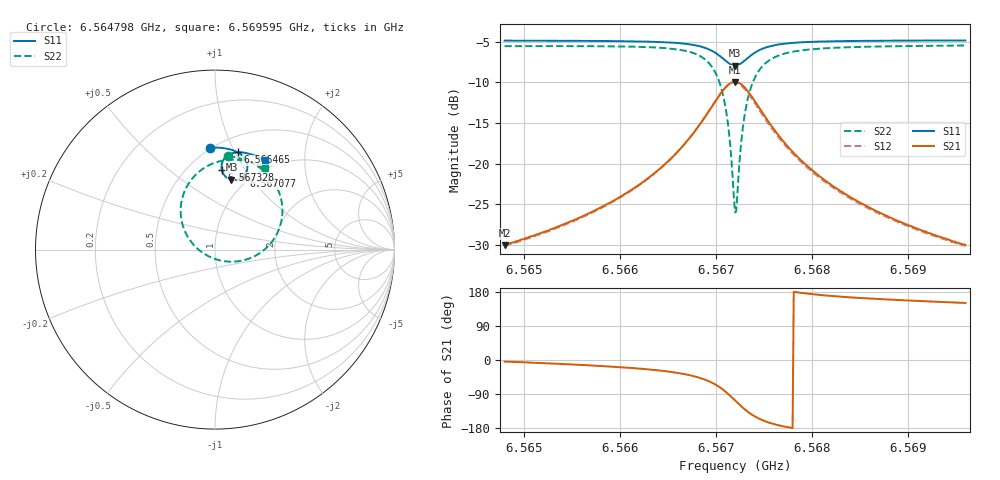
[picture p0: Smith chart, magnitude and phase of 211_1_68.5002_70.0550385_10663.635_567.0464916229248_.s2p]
#  HZ  S  RI  R  50.00
! Rohde & Schwarz Vector Network Analyzer
! Rohde-Schwarz,ZNB20-2Port,1311601062101988,3.16
! Created: UTC 3/20/2024, 5:13:09 PM
! freq[Hz]  re:S11  im:S11  re:S21  im:S21  re:S12  im:S12  re:S22  im:S22
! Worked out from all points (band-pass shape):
!   401 points, 6.564798 GHz to 6.569595 GHz, reference 50 ohm
!   highest |S21| = -9.95 dB at 6.567196 GHz (marker M1); lowest = -30.0 dB at 6.564798 GHz (marker M2)
!   |S21| within 3 dB of the highest: 6.566958 GHz to 6.567437 GHz (479.7 kHz wide, 0.0073 % of centre)
!   lowest |S11| = -8.0 dB at 6.567196 GHz (marker M3), VSWR 2.33, Z = 43.1 + j39.8 ohm
!   |S11| at or under -10 dB: nowhere
!   |S22| runs from -26.0 to -5.5 dB; largest |S21 - S12| = 0.016
!   S11 on the Smith chart (normalised r, x): 6.564798 GHz: 0.49, +0.82; 6.566465 GHz: 0.65, +1.03; 6.567077 GHz: 0.92, +0.94; 6.567328 GHz: 0.71, +0.79; 6.569595 GHz: 0.88, +1.30
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6.5647978e9  -0.0286 0.5684  0.0316 -0.00232  0.0311 -0.00276  0.0737 0.5213
6.5656014e9  0.039 0.5663  0.0461 -0.0107  0.0454 -0.0114  0.1551 0.5032
6.5660571e9  0.0816 0.5588  0.0618 -0.0224  0.0607 -0.0231  0.2145 0.4777
6.5664049e9  0.1188 0.5459  0.0818 -0.0427  0.0806 -0.0437  0.2753 0.4359
6.5664649e9  0.126 0.5423  0.0864 -0.0487  0.0851 -0.0497  0.2878 0.4241
6.5667048e9  0.1566 0.5192  0.1083 -0.0876  0.1067 -0.0895  0.3442 0.3473
6.5668847e9  0.1778 0.4823  0.1195 -0.1524  0.1165 -0.1559  0.3758 0.2227
6.5669926e9  0.1791 0.4445  0.1031 -0.2189  0.0972 -0.2233  0.3489 0.0959
6.5670766e9  0.1601 0.4092  0.0535 -0.279  0.0429 -0.2823  0.256 -0.0153
6.5671245e9  0.1374 0.3933  0.00355 -0.3043  -0.00987 -0.3049  0.1626 -0.0587
6.5671845e9  0.0997 0.3874  -0.0746 -0.3087  -0.0892 -0.3031  0.0207 -0.0586
6.5671965e9  0.0918 0.3889  -0.0905 -0.3048  -0.1048 -0.298  -0.00725 -0.0497
6.5672205e9  0.0769 0.3941  -0.1208 -0.2927  -0.1338 -0.2833  -0.0593 -0.0239
6.5672684e9  0.0528 0.4129  -0.1697 -0.2535  -0.1787 -0.2407  -0.1394 0.0523
6.5673284e9  0.0377 0.4436  -0.2023 -0.1926  -0.2057 -0.179  -0.1866 0.1638
6.5674244e9  0.041 0.487  -0.204 -0.1089  -0.2021 -0.0985  -0.1754 0.31
6.5675683e9  0.0684 0.5225  -0.1683 -0.0398  -0.1645 -0.034  -0.0984 0.4256
6.5677362e9  0.1004 0.5379  -0.1293 -0.007  -0.126 -0.00401  -0.0175 0.4775
6.568e9  0.1394 0.5423  -0.0906 0.01  -0.0883 0.0114  0.0685 0.4995
6.5683718e9  0.1806 0.5366  -0.0618 0.0156  -0.0602 0.0163  0.1435 0.498
6.5688036e9  0.2195 0.5248  -0.0439 0.0164  -0.043 0.0169  0.2017 0.485
6.5695951e9  0.2805 0.497  -0.0276 0.0156  -0.027 0.0157  0.2774 0.4532
